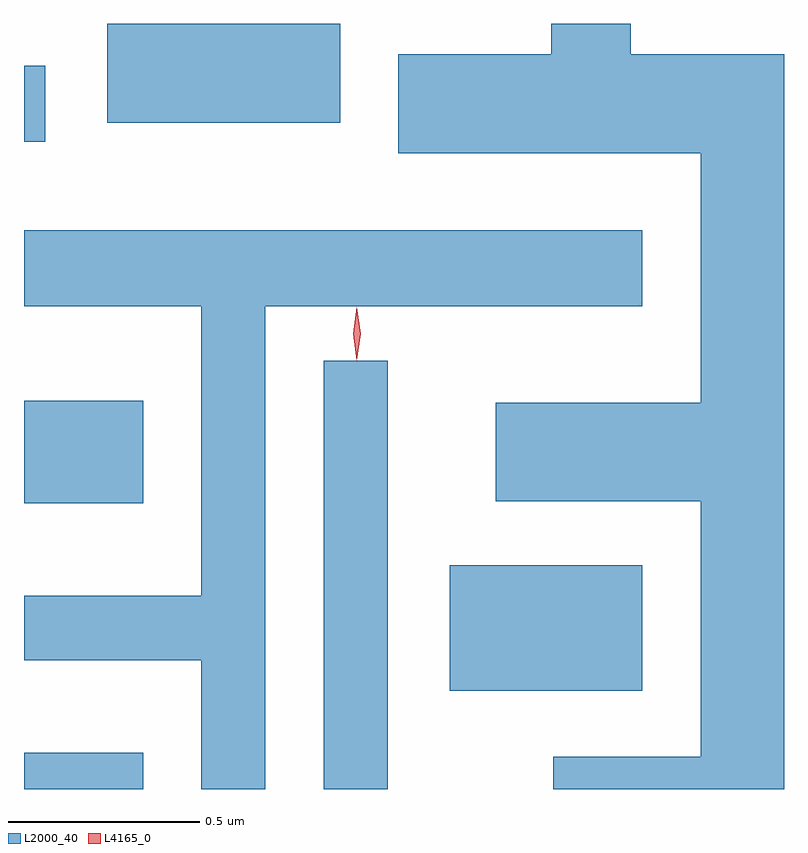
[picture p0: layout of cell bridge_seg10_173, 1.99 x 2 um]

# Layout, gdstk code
import gdstk
lib = gdstk.Library(unit=1e-6, precision=1e-09)
def R(c, l, rs):  # rectangles x0, y0, x1, y1
    for r in rs: c.add(gdstk.rectangle(r[:2], r[2:], *l))
def P(c, l, *ps):  # polygons
    for p in ps: c.add(gdstk.Polygon(p, *l))
L2000_40 = (2000, 40)
L4165_0 = (4165, 0)

bridge_seg10_173 = lib.new_cell('bridge_seg10_173')
R(bridge_seg10_173, L2000_40, [(1664.858,2141.054,1665.169,2141.149), (1665.641,2141.054,1665.809,2142.173), (1665.971,2141.311,1666.474,2141.639), (1664.858,2141.801,1665.169,2142.069), (1664.858,2142.746,1664.914,2142.944), (1665.076,2142.796,1665.684,2143.054)])
P(bridge_seg10_173, L2000_40, [(1666.844,2142.974),(1666.444,2142.974),(1666.444,2143.054),(1666.236,2143.054),(1666.236,2142.974),(1665.836,2142.974),(1665.836,2142.716),(1666.626,2142.716),(1666.626,2142.064),(1666.091,2142.064),(1666.091,2141.806),(1666.626,2141.806),(1666.626,2141.139),(1666.241,2141.139),(1666.241,2141.054),(1666.844,2141.054)],
  [(1665.489,2142.316),(1666.474,2142.316),(1666.474,2142.514),(1664.858,2142.514),(1664.858,2142.316),(1665.321,2142.316),(1665.321,2141.559),(1664.858,2141.559),(1664.858,2141.391),(1665.321,2141.391),(1665.321,2141.054),(1665.489,2141.054)])
P(bridge_seg10_173, L4165_0, [(1665.727,2142.178),(1665.718,2142.244),(1665.727,2142.311),(1665.728,2142.311),(1665.728,2142.311),(1665.738,2142.244),(1665.728,2142.178),(1665.728,2142.178)],
  [(1665.728,2142.174),(1665.727,2142.175),(1665.718,2142.244),(1665.727,2142.313),(1665.728,2142.314),(1665.728,2142.313),(1665.738,2142.244),(1665.728,2142.175)])

lib.write_gds('bridge_seg10_173.gds')
